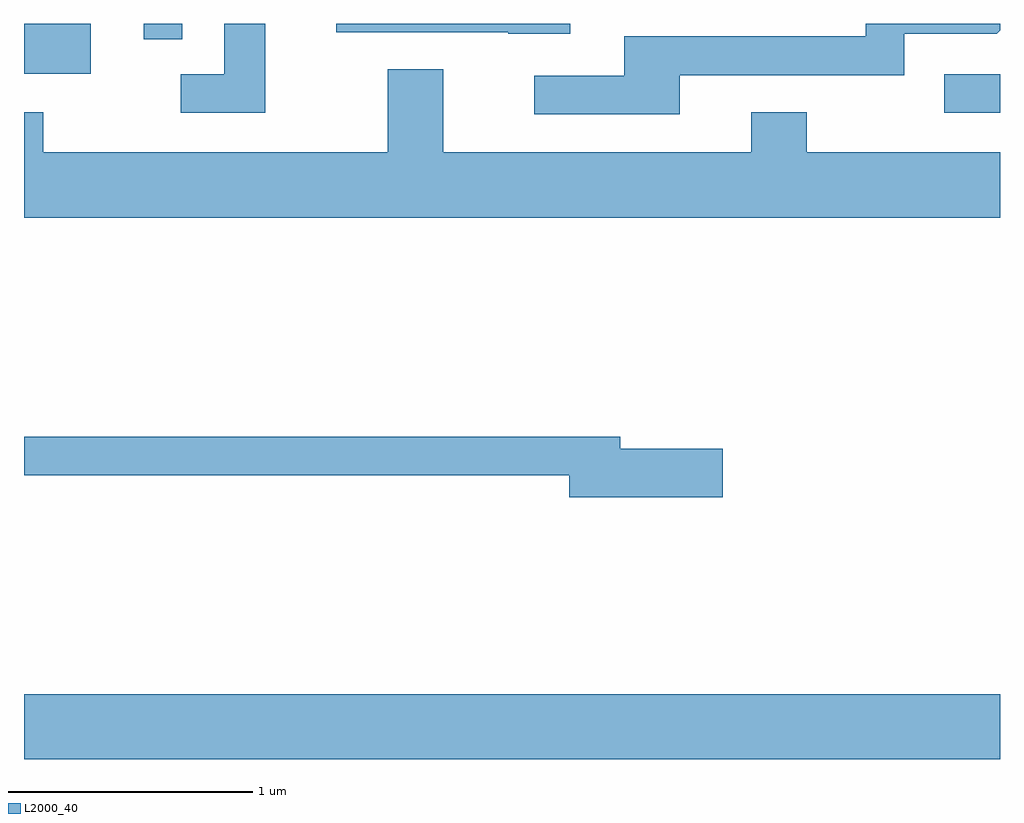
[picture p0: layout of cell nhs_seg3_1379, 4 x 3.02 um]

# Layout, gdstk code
import gdstk
lib = gdstk.Library(unit=1e-6, precision=1e-09)
def R(c, l, rs):  # rectangles x0, y0, x1, y1
    for r in rs: c.add(gdstk.rectangle(r[:2], r[2:], *l))
def P(c, l, *ps):  # polygons
    for p in ps: c.add(gdstk.Polygon(p, *l))
L2000_40 = (2000, 40)

nhs_seg3_1379 = lib.new_cell('nhs_seg3_1379')
R(nhs_seg3_1379, L2000_40, [(225.611,1154.876,229.611,1155.144), (229.383,1157.526,229.611,1157.684), (225.611,1157.686,225.884,1157.892), (226.101,1157.828,226.259,1157.892)])
P(nhs_seg3_1379, L2000_40, [(227.849,1157.892),(226.891,1157.892),(226.891,1157.856),(227.595,1157.856),(227.595,1157.851),(227.849,1157.851)],
  [(228.299,1157.681),(229.219,1157.681),(229.219,1157.851),(229.597,1157.851),(229.611,1157.865),(229.611,1157.892),(229.061,1157.892),(229.061,1157.839),(228.071,1157.839),(228.071,1157.679),(227.703,1157.679),(227.703,1157.521),(228.299,1157.521)],
  [(226.599,1157.892),(226.431,1157.892),(226.431,1157.684),(226.253,1157.684),(226.253,1157.526),(226.599,1157.526)],
  [(225.611,1157.529),(225.611,1157.096),(229.611,1157.096),(229.611,1157.364),(228.819,1157.364),(228.819,1157.529),(228.591,1157.529),(228.591,1157.364),(227.329,1157.364),(227.329,1157.704),(227.101,1157.704),(227.101,1157.364),(225.689,1157.364),(225.689,1157.529)],
  [(228.474,1156.149),(228.054,1156.149),(228.054,1156.199),(225.611,1156.199),(225.611,1156.041),(227.846,1156.041),(227.846,1155.951),(228.474,1155.951)])

lib.write_gds('nhs_seg3_1379.gds')
